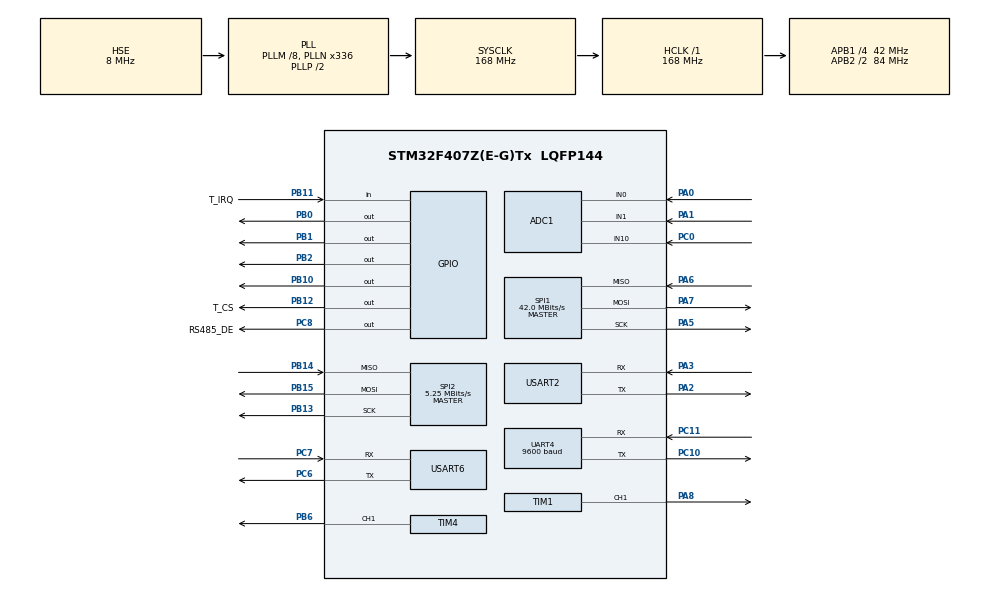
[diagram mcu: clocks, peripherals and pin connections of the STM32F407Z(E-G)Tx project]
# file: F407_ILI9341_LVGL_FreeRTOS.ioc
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ADC1.Channel-0\#ChannelRegularConversion=ADC_CHANNEL_0
ADC1.Channel-4\#ChannelRegularConversion=ADC_CHANNEL_1
ADC1.Channel-5\#ChannelRegularConversion=ADC_CHANNEL_10
ADC1.ContinuousConvMode=ENABLE
ADC1.DMAContinuousRequests=ENABLE
ADC1.DiscontinuousConvMode=DISABLE
ADC1.InjNumberOfConversion=0
ADC1.NbrOfConversion=3
ADC1.NbrOfConversionFlag=1
ADC1.Rank-0\#ChannelRegularConversion=1
ADC1.Rank-4\#ChannelRegularConversion=2
ADC1.Rank-5\#ChannelRegularConversion=3
ADC1.SamplingTime-0\#ChannelRegularConversion=ADC_SAMPLETIME_84CYCLES
ADC1.SamplingTime-4\#ChannelRegularConversion=ADC_SAMPLETIME_84CYCLES
ADC1.SamplingTime-5\#ChannelRegularConversion=ADC_SAMPLETIME_84CYCLES
ADC1.ScanConvMode=ENABLE
ADC1.master=1
Dma.ADC1.1.Direction=DMA_PERIPH_TO_MEMORY
Dma.ADC1.1.FIFOMode=DMA_FIFOMODE_DISABLE
Dma.ADC1.1.Instance=DMA2_Stream0
Dma.ADC1.1.MemDataAlignment=DMA_MDATAALIGN_HALFWORD
Dma.ADC1.1.MemInc=DMA_MINC_ENABLE
Dma.ADC1.1.Mode=DMA_CIRCULAR
Dma.ADC1.1.PeriphDataAlignment=DMA_PDATAALIGN_HALFWORD
Dma.ADC1.1.PeriphInc=DMA_PINC_DISABLE
Dma.ADC1.1.Priority=DMA_PRIORITY_LOW
Dma.Request0=SPI1_TX
Dma.Request1=ADC1
Dma.SPI1_TX.0.Direction=DMA_MEMORY_TO_PERIPH
Dma.SPI1_TX.0.FIFOMode=DMA_FIFOMODE_DISABLE
Dma.SPI1_TX.0.Instance=DMA2_Stream3
Dma.SPI1_TX.0.MemDataAlignment=DMA_MDATAALIGN_BYTE
Dma.SPI1_TX.0.MemInc=DMA_MINC_ENABLE
Dma.SPI1_TX.0.Mode=DMA_NORMAL
Dma.SPI1_TX.0.PeriphDataAlignment=DMA_PDATAALIGN_BYTE
Dma.SPI1_TX.0.PeriphInc=DMA_PINC_DISABLE
Dma.SPI1_TX.0.Priority=DMA_PRIORITY_HIGH
FREERTOS.Tasks01=defaultTask,24,2048,StartDefaultTask,Default,NULL,Dynamic,NULL,NULL
FREERTOS.configTOTAL_HEAP_SIZE=32768
Mcu.Family=STM32F4
Mcu.Name=STM32F407Z(E-G)Tx
Mcu.Package=LQFP144
NVIC.DMA2_Stream0_IRQn=true\:5\:0\:false\:false\:true\:true\:false\:true\:true
NVIC.DMA2_Stream3_IRQn=true\:5\:0\:false\:false\:true\:true\:false\:true\:true
NVIC.PriorityGroup=NVIC_PRIORITYGROUP_4
NVIC.TIM7_IRQn=true\:15\:0\:false\:false\:true\:false\:false\:true\:true
NVIC.TimeBase=TIM7_IRQn
NVIC.TimeBaseIP=TIM7
NVIC.UART4_IRQn=true\:5\:0\:false\:false\:true\:true\:true\:true\:true
NVIC.USART2_IRQn=true\:5\:0\:false\:false\:true\:true\:true\:true\:true
NVIC.USART6_IRQn=true\:5\:0\:false\:false\:true\:true\:true\:true\:true
PA0-WKUP.Signal=ADCx_IN0
PA1.Signal=ADCx_IN1
PA13.Mode=Serial_Wire
PA13.Signal=SYS_JTMS-SWDIO
PA14.Mode=Serial_Wire
PA14.Signal=SYS_JTCK-SWCLK
PA2.Mode=Asynchronous
PA2.Signal=USART2_TX
PA3.GPIO_PuPd=GPIO_PULLUP
PA3.Mode=Asynchronous
PA3.Signal=USART2_RX
PA5.Mode=Full_Duplex_Master
PA5.Signal=SPI1_SCK
PA6.Mode=Full_Duplex_Master
PA6.Signal=SPI1_MISO
PA7.Mode=Full_Duplex_Master
PA7.Signal=SPI1_MOSI
PA8.Signal=S_TIM1_CH1
PB0.GPIO_Speed=GPIO_SPEED_FREQ_HIGH
PB0.PinState=GPIO_PIN_RESET
PB0.Signal=GPIO_Output
PB1.GPIO_Speed=GPIO_SPEED_FREQ_HIGH
PB1.PinState=GPIO_PIN_SET
PB1.Signal=GPIO_Output
PB10.GPIO_Speed=GPIO_SPEED_FREQ_HIGH
PB10.PinState=GPIO_PIN_SET
PB10.Signal=GPIO_Output
PB11.GPIO_Label=T_IRQ
PB11.Signal=GPIO_Input
PB12.GPIO_Label=T_CS
PB12.PinState=GPIO_PIN_SET
PB12.Signal=GPIO_Output
PB13.Mode=Full_Duplex_Master
PB13.Signal=SPI2_SCK
PB14.Mode=Full_Duplex_Master
PB14.Signal=SPI2_MISO
PB15.Mode=Full_Duplex_Master
PB15.Signal=SPI2_MOSI
PB2.GPIO_Speed=GPIO_SPEED_FREQ_HIGH
PB2.PinState=GPIO_PIN_SET
PB2.Signal=GPIO_Output
PB6.Signal=S_TIM4_CH1
PC0.Signal=ADCx_IN10
PC10.Mode=Asynchronous
PC10.Signal=UART4_TX
PC11.Mode=Asynchronous
PC11.Signal=UART4_RX
PC6.Mode=Asynchronous
PC6.Signal=USART6_TX
PC7.Mode=Asynchronous
PC7.Signal=USART6_RX
PC8.GPIO_Label=RS485_DE
PC8.Signal=GPIO_Output
PH0-OSC_IN.Mode=HSE-External-Oscillator
PH0-OSC_IN.Signal=RCC_OSC_IN
PH1-OSC_OUT.Mode=HSE-External-Oscillator
PH1-OSC_OUT.Signal=RCC_OSC_OUT
ProjectManager.HeapSize=0x200
ProjectManager.StackSize=0x400
ProjectManager.TargetToolchain=CMake
RCC.48MHZClocksFreq_Value=84000000
RCC.AHBFreq_Value=168000000
RCC.APB1CLKDivider=RCC_HCLK_DIV4
RCC.APB1Freq_Value=42000000
RCC.APB1TimFreq_Value=84000000
RCC.APB2CLKDivider=RCC_HCLK_DIV2
RCC.APB2Freq_Value=84000000
RCC.APB2TimFreq_Value=168000000
RCC.CortexFreq_Value=168000000
RCC.HCLKFreq_Value=168000000
RCC.HSE_VALUE=8000000
RCC.HSI_VALUE=16000000
RCC.LSE_VALUE=32768
RCC.PLLM=8
RCC.PLLN=336
RCC.PLLSourceVirtual=RCC_PLLSOURCE_HSE
RCC.SYSCLKFreq_VALUE=168000000
RCC.SYSCLKSource=RCC_SYSCLKSOURCE_PLLCLK
RCC.VCOOutputFreq_Value=336000000
SH.ADCx_IN0.0=ADC1_IN0,IN0
SH.ADCx_IN1.0=ADC1_IN1,IN1
SH.ADCx_IN10.0=ADC1_IN10,IN10
SH.S_TIM1_CH1.0=TIM1_CH1,PWM Generation1 CH1
SH.S_TIM4_CH1.0=TIM4_CH1,PWM Generation1 CH1
SPI1.CalculateBaudRate=42.0 MBits/s
SPI1.Direction=SPI_DIRECTION_2LINES
SPI1.Mode=SPI_MODE_MASTER
SPI1.VirtualType=VM_MASTER
SPI2.BaudRatePrescaler=SPI_BAUDRATEPRESCALER_8
SPI2.CalculateBaudRate=5.25 MBits/s
SPI2.Direction=SPI_DIRECTION_2LINES
SPI2.Mode=SPI_MODE_MASTER
SPI2.VirtualType=VM_MASTER
TIM1.Channel-PWM\ Generation1\ CH1=TIM_CHANNEL_1
TIM1.Period=99
TIM1.Prescaler=83
TIM4.Channel-PWM\ Generation1\ CH1=TIM_CHANNEL_1
TIM4.Period=99
TIM4.Prescaler=83
UART4.BaudRate=9600
UART4.VirtualMode=Asynchronous
USART2.VirtualMode=VM_ASYNC
USART6.VirtualMode=VM_ASYNC
VP_FREERTOS_VS_CMSIS_V2.Mode=CMSIS_V2
VP_SYS_VS_tim7.Mode=TIM7
board=custom

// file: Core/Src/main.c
/* USER CODE BEGIN Header */
/**
  ******************************************************************************
  * @file           : main.c
  * @brief          : Main program body
  ******************************************************************************
  * @attention
  *
  * Copyright (c) 2026 STMicroelectronics.
  * All rights reserved.
  *
  * This software is licensed under terms that can be found in the LICENSE file
  * in the root directory of this software component.
  * If no LICENSE file comes with this software, it is provided AS-IS.
  *
  ******************************************************************************
  */
/* USER CODE END Header */
#include "main.h"
#include "cmsis_os.h"

/* USER CODE BEGIN Includes */
#include "lvgl.h"
#include "ili9341.h"
#include "lv_port_disp.h"
#include "ui.h"
#include "lv_port_indev.h"
#include "app_env.h"      /* 任务间共享数据 */
#include "app_tasks.h"    /* 四个任务 */
/* USER CODE END Includes */

ADC_HandleTypeDef hadc1;
DMA_HandleTypeDef hdma_adc1;

SPI_HandleTypeDef hspi1;
SPI_HandleTypeDef hspi2;
DMA_HandleTypeDef hdma_spi1_tx;

TIM_HandleTypeDef htim1;
TIM_HandleTypeDef htim4;

UART_HandleTypeDef huart4;
UART_HandleTypeDef huart2;
UART_HandleTypeDef huart6;

/* Definitions for defaultTask */
osThreadId_t defaultTaskHandle;
const osThreadAttr_t defaultTask_attributes = {
  .name = "defaultTask",
  .stack_size = 2048 * 4,
  .priority = (osPriority_t) osPriorityNormal,
};

void SystemClock_Config(void);
static void MX_GPIO_Init(void);
static void MX_DMA_Init(void);
static void MX_SPI1_Init(void);
static void MX_SPI2_Init(void);
static void MX_ADC1_Init(void);
static void MX_UART4_Init(void);
static void MX_USART2_UART_Init(void);
static void MX_TIM1_Init(void);
static void MX_TIM4_Init(void);
static void MX_USART6_UART_Init(void);
void StartDefaultTask(void *argument);

int main(void)
{

  /* MCU Configuration--------------------------------------------------------*/

  /* Reset of all peripherals, Initializes the Flash interface and the Systick. */
  HAL_Init();

  /* Configure the system clock */
  SystemClock_Config();

  /* Initialize all configured peripherals */
  MX_GPIO_Init();
  MX_DMA_Init();
  MX_SPI1_Init();
  MX_SPI2_Init();
  MX_ADC1_Init();
  MX_UART4_Init();
  MX_USART2_UART_Init();
  MX_TIM1_Init();
  MX_TIM4_Init();
  MX_USART6_UART_Init();
  /* USER CODE BEGIN 2 */

  /* 屏幕 + LVGL 初始化 */
  ILI9341_Init();
  lv_init();
  lv_port_disp_init();
  lv_port_indev_init();   /* ← 新增：注册触摸屏 */

  /* LVGL 界面*/
  HAL_Delay(500);
  ui_init();

  /* DMA2 Stream0 是 ADC1 的循环搬运通道。CubeMX 默认给它开了 NVIC 中断，
     但循环模式下"传输完成"每约 14µs 就来一次（约 7 万次/秒），而
     Task_Sensor 是 100ms 主动取一次值，根本不需要中断通知。
     CubeMX 在 GUI 里把这一行的使能勾锁死了（DMA Settings 页和全局 NVIC
     表里都改不了），所以在这里反向关掉。
     DMA 本身是纯硬件在搬数据，关掉中断不影响它工作。
     放在 USER CODE 区，重新生成不会丢。 */
  HAL_NVIC_DisableIRQ(DMA2_Stream0_IRQn);

  /* USER CODE END 2 */

  /* Init scheduler */
  osKernelInitialize();

  /* USER CODE BEGIN RTOS_MUTEX */
  /* 建立保护共享数据的互斥锁，并把阈值恢复成默认值。
     必须放在 osKernelInitialize() 之后（建锁的前提），
     又必须在 osKernelStart() 之前（任务一跑起来就要用）。 */
  env_init();
  /* USER CODE END RTOS_MUTEX */

  /* Create the thread(s) */
  /* creation of defaultTask */
  defaultTaskHandle = osThreadNew(StartDefaultTask, NULL, &defaultTask_attributes);

  /* USER CODE BEGIN RTOS_THREADS */
  /* 创建 Sensor / Voc / Host 三个任务。
     LVGL 任务由 CubeMX 的 defaultTask 承担，不在这里重复创建。 */
  app_tasks_create();
  /* USER CODE END RTOS_THREADS */

  /* Start scheduler */
  osKernelStart();

  /* We should never get here as control is now taken by the scheduler */

  /* Infinite loop */
  while (1)
  {

  }
}

void SystemClock_Config(void)
{
  RCC_OscInitTypeDef RCC_OscInitStruct = {0};
  RCC_ClkInitTypeDef RCC_ClkInitStruct = {0};

  /** Configure the main internal regulator output voltage
  */
  __HAL_RCC_PWR_CLK_ENABLE();
  __HAL_PWR_VOLTAGESCALING_CONFIG(PWR_REGULATOR_VOLTAGE_SCALE1);

  /** Initializes the RCC Oscillators according to the specified parameters
  * in the RCC_OscInitTypeDef structure.
  */
  RCC_OscInitStruct.OscillatorType = RCC_OSCILLATORTYPE_HSE;
  RCC_OscInitStruct.HSEState = RCC_HSE_ON;
  RCC_OscInitStruct.PLL.PLLState = RCC_PLL_ON;
  RCC_OscInitStruct.PLL.PLLSource = RCC_PLLSOURCE_HSE;
  RCC_OscInitStruct.PLL.PLLM = 8;
  RCC_OscInitStruct.PLL.PLLN = 336;
  RCC_OscInitStruct.PLL.PLLP = RCC_PLLP_DIV2;
  RCC_OscInitStruct.PLL.PLLQ = 4;
  if (HAL_RCC_OscConfig(&RCC_OscInitStruct) != HAL_OK)
  {
    Error_Handler();
  }

  /** Initializes the CPU, AHB and APB buses clocks
  */
  RCC_ClkInitStruct.ClockType = RCC_CLOCKTYPE_HCLK|RCC_CLOCKTYPE_SYSCLK
                              |RCC_CLOCKTYPE_PCLK1|RCC_CLOCKTYPE_PCLK2;
  RCC_ClkInitStruct.SYSCLKSource = RCC_SYSCLKSOURCE_PLLCLK;
  RCC_ClkInitStruct.AHBCLKDivider = RCC_SYSCLK_DIV1;
  RCC_ClkInitStruct.APB1CLKDivider = RCC_HCLK_DIV4;
  RCC_ClkInitStruct.APB2CLKDivider = RCC_HCLK_DIV2;

  if (HAL_RCC_ClockConfig(&RCC_ClkInitStruct, FLASH_LATENCY_5) != HAL_OK)
  {
    Error_Handler();
  }
}

static void MX_ADC1_Init(void)
{

  ADC_ChannelConfTypeDef sConfig = {0};

  /** Configure the global features of the ADC (Clock, Resolution, Data Alignment and number of conversion)
  */
  hadc1.Instance = ADC1;
  hadc1.Init.ClockPrescaler = ADC_CLOCK_SYNC_PCLK_DIV4;
  hadc1.Init.Resolution = ADC_RESOLUTION_12B;
  hadc1.Init.ScanConvMode = ENABLE;
  hadc1.Init.ContinuousConvMode = ENABLE;
  hadc1.Init.DiscontinuousConvMode = DISABLE;
  hadc1.Init.ExternalTrigConvEdge = ADC_EXTERNALTRIGCONVEDGE_NONE;
  hadc1.Init.ExternalTrigConv = ADC_SOFTWARE_START;
  hadc1.Init.DataAlign = ADC_DATAALIGN_RIGHT;
  hadc1.Init.NbrOfConversion = 3;
  hadc1.Init.DMAContinuousRequests = ENABLE;
  hadc1.Init.EOCSelection = ADC_EOC_SINGLE_CONV;
  if (HAL_ADC_Init(&hadc1) != HAL_OK)
  {
    Error_Handler();
  }

  /** Configure for the selected ADC regular channel its corresponding rank in the sequencer and its sample time.
  */
  sConfig.Channel = ADC_CHANNEL_0;
  sConfig.Rank = 1;
  sConfig.SamplingTime = ADC_SAMPLETIME_84CYCLES;
  if (HAL_ADC_ConfigChannel(&hadc1, &sConfig) != HAL_OK)
  {
    Error_Handler();
  }

  /** Configure for the selected ADC regular channel its corresponding rank in the sequencer and its sample time.
  */
  sConfig.Channel = ADC_CHANNEL_1;
  sConfig.Rank = 2;
  if (HAL_ADC_ConfigChannel(&hadc1, &sConfig) != HAL_OK)
  {
    Error_Handler();
  }

  /** Configure for the selected ADC regular channel its corresponding rank in the sequencer and its sample time.
  */
  sConfig.Channel = ADC_CHANNEL_10;
  sConfig.Rank = 3;
  if (HAL_ADC_ConfigChannel(&hadc1, &sConfig) != HAL_OK)
  {
    Error_Handler();
  }

}

static void MX_SPI1_Init(void)
{

  /* SPI1 parameter configuration*/
  hspi1.Instance = SPI1;
  hspi1.Init.Mode = SPI_MODE_MASTER;
  hspi1.Init.Direction = SPI_DIRECTION_2LINES;
  hspi1.Init.DataSize = SPI_DATASIZE_8BIT;
  hspi1.Init.CLKPolarity = SPI_POLARITY_LOW;
  hspi1.Init.CLKPhase = SPI_PHASE_1EDGE;
  hspi1.Init.NSS = SPI_NSS_SOFT;
  hspi1.Init.BaudRatePrescaler = SPI_BAUDRATEPRESCALER_2;
  hspi1.Init.FirstBit = SPI_FIRSTBIT_MSB;
  hspi1.Init.TIMode = SPI_TIMODE_DISABLE;
  hspi1.Init.CRCCalculation = SPI_CRCCALCULATION_DISABLE;
  hspi1.Init.CRCPolynomial = 10;
  if (HAL_SPI_Init(&hspi1) != HAL_OK)
  {
    Error_Handler();
  }

}

static void MX_SPI2_Init(void)
{

  /* SPI2 parameter configuration*/
  hspi2.Instance = SPI2;
  hspi2.Init.Mode = SPI_MODE_MASTER;
  hspi2.Init.Direction = SPI_DIRECTION_2LINES;
  hspi2.Init.DataSize = SPI_DATASIZE_8BIT;
  hspi2.Init.CLKPolarity = SPI_POLARITY_LOW;
  hspi2.Init.CLKPhase = SPI_PHASE_1EDGE;
  hspi2.Init.NSS = SPI_NSS_SOFT;
  hspi2.Init.BaudRatePrescaler = SPI_BAUDRATEPRESCALER_8;
  hspi2.Init.FirstBit = SPI_FIRSTBIT_MSB;
  hspi2.Init.TIMode = SPI_TIMODE_DISABLE;
  hspi2.Init.CRCCalculation = SPI_CRCCALCULATION_DISABLE;
  hspi2.Init.CRCPolynomial = 10;
  if (HAL_SPI_Init(&hspi2) != HAL_OK)
  {
    Error_Handler();
  }

}

static void MX_TIM1_Init(void)
{

  TIM_MasterConfigTypeDef sMasterConfig = {0};
  TIM_OC_InitTypeDef sConfigOC = {0};
  TIM_BreakDeadTimeConfigTypeDef sBreakDeadTimeConfig = {0};

  htim1.Instance = TIM1;
  htim1.Init.Prescaler = 83;
  htim1.Init.CounterMode = TIM_COUNTERMODE_UP;
  htim1.Init.Period = 99;
  htim1.Init.ClockDivision = TIM_CLOCKDIVISION_DIV1;
  htim1.Init.RepetitionCounter = 0;
  htim1.Init.AutoReloadPreload = TIM_AUTORELOAD_PRELOAD_DISABLE;
  if (HAL_TIM_PWM_Init(&htim1) != HAL_OK)
  {
    Error_Handler();
  }
  sMasterConfig.MasterOutputTrigger = TIM_TRGO_RESET;
  sMasterConfig.MasterSlaveMode = TIM_MASTERSLAVEMODE_DISABLE;
  if (HAL_TIMEx_MasterConfigSynchronization(&htim1, &sMasterConfig) != HAL_OK)
  {
    Error_Handler();
  }
  sConfigOC.OCMode = TIM_OCMODE_PWM1;
  sConfigOC.Pulse = 0;
  sConfigOC.OCPolarity = TIM_OCPOLARITY_HIGH;
  sConfigOC.OCNPolarity = TIM_OCNPOLARITY_HIGH;
  sConfigOC.OCFastMode = TIM_OCFAST_DISABLE;
  sConfigOC.OCIdleState = TIM_OCIDLESTATE_RESET;
  sConfigOC.OCNIdleState = TIM_OCNIDLESTATE_RESET;
  if (HAL_TIM_PWM_ConfigChannel(&htim1, &sConfigOC, TIM_CHANNEL_1) != HAL_OK)
  {
    Error_Handler();
  }
  sBreakDeadTimeConfig.OffStateRunMode = TIM_OSSR_DISABLE;
  sBreakDeadTimeConfig.OffStateIDLEMode = TIM_OSSI_DISABLE;
  sBreakDeadTimeConfig.LockLevel = TIM_LOCKLEVEL_OFF;
  sBreakDeadTimeConfig.DeadTime = 0;
  sBreakDeadTimeConfig.BreakState = TIM_BREAK_DISABLE;
  sBreakDeadTimeConfig.BreakPolarity = TIM_BREAKPOLARITY_HIGH;
  sBreakDeadTimeConfig.AutomaticOutput = TIM_AUTOMATICOUTPUT_DISABLE;
  if (HAL_TIMEx_ConfigBreakDeadTime(&htim1, &sBreakDeadTimeConfig) != HAL_OK)
  {
    Error_Handler();
  }
  HAL_TIM_MspPostInit(&htim1);

}

static void MX_TIM4_Init(void)
{

  TIM_MasterConfigTypeDef sMasterConfig = {0};
  TIM_OC_InitTypeDef sConfigOC = {0};

  htim4.Instance = TIM4;
  htim4.Init.Prescaler = 83;
  htim4.Init.CounterMode = TIM_COUNTERMODE_UP;
  htim4.Init.Period = 99;
  htim4.Init.ClockDivision = TIM_CLOCKDIVISION_DIV1;
  htim4.Init.AutoReloadPreload = TIM_AUTORELOAD_PRELOAD_DISABLE;
  if (HAL_TIM_PWM_Init(&htim4) != HAL_OK)
  {
    Error_Handler();
  }
  sMasterConfig.MasterOutputTrigger = TIM_TRGO_RESET;
  sMasterConfig.MasterSlaveMode = TIM_MASTERSLAVEMODE_DISABLE;
  if (HAL_TIMEx_MasterConfigSynchronization(&htim4, &sMasterConfig) != HAL_OK)
  {
    Error_Handler();
  }
  sConfigOC.OCMode = TIM_OCMODE_PWM1;
  sConfigOC.Pulse = 0;
  sConfigOC.OCPolarity = TIM_OCPOLARITY_HIGH;
  sConfigOC.OCFastMode = TIM_OCFAST_DISABLE;
  if (HAL_TIM_PWM_ConfigChannel(&htim4, &sConfigOC, TIM_CHANNEL_1) != HAL_OK)
  {
    Error_Handler();
  }
  HAL_TIM_MspPostInit(&htim4);

}

static void MX_UART4_Init(void)
{

  huart4.Instance = UART4;
  huart4.Init.BaudRate = 9600;
  huart4.Init.WordLength = UART_WORDLENGTH_8B;
  huart4.Init.StopBits = UART_STOPBITS_1;
  huart4.Init.Parity = UART_PARITY_NONE;
  huart4.Init.Mode = UART_MODE_TX_RX;
  huart4.Init.HwFlowCtl = UART_HWCONTROL_NONE;
  huart4.Init.OverSampling = UART_OVERSAMPLING_16;
  if (HAL_UART_Init(&huart4) != HAL_OK)
  {
    Error_Handler();
  }

}

static void MX_USART2_UART_Init(void)
{

  huart2.Instance = USART2;
  huart2.Init.BaudRate = 115200;
  huart2.Init.WordLength = UART_WORDLENGTH_8B;
  huart2.Init.StopBits = UART_STOPBITS_1;
  huart2.Init.Parity = UART_PARITY_NONE;
  huart2.Init.Mode = UART_MODE_TX_RX;
  huart2.Init.HwFlowCtl = UART_HWCONTROL_NONE;
  huart2.Init.OverSampling = UART_OVERSAMPLING_16;
  if (HAL_UART_Init(&huart2) != HAL_OK)
  {
    Error_Handler();
  }

}

static void MX_USART6_UART_Init(void)
{

  huart6.Instance = USART6;
  huart6.Init.BaudRate = 115200;
  huart6.Init.WordLength = UART_WORDLENGTH_8B;
  huart6.Init.StopBits = UART_STOPBITS_1;
  huart6.Init.Parity = UART_PARITY_NONE;
  huart6.Init.Mode = UART_MODE_TX_RX;
  huart6.Init.HwFlowCtl = UART_HWCONTROL_NONE;
  huart6.Init.OverSampling = UART_OVERSAMPLING_16;
  if (HAL_UART_Init(&huart6) != HAL_OK)
  {
    Error_Handler();
  }

}

static void MX_DMA_Init(void)
{

  /* DMA controller clock enable */
  __HAL_RCC_DMA2_CLK_ENABLE();

  /* DMA interrupt init */
  /* DMA2_Stream0_IRQn interrupt configuration */
  HAL_NVIC_SetPriority(DMA2_Stream0_IRQn, 5, 0);
  HAL_NVIC_EnableIRQ(DMA2_Stream0_IRQn);
  /* DMA2_Stream3_IRQn interrupt configuration */
  HAL_NVIC_SetPriority(DMA2_Stream3_IRQn, 5, 0);
  HAL_NVIC_EnableIRQ(DMA2_Stream3_IRQn);

}

static void MX_GPIO_Init(void)
{
  GPIO_InitTypeDef GPIO_InitStruct = {0};

  /* GPIO Ports Clock Enable */
  __HAL_RCC_GPIOH_CLK_ENABLE();
  __HAL_RCC_GPIOC_CLK_ENABLE();
  __HAL_RCC_GPIOA_CLK_ENABLE();
  __HAL_RCC_GPIOB_CLK_ENABLE();

  /*Configure GPIO pin Output Level */
  HAL_GPIO_WritePin(GPIOB, GPIO_PIN_0, GPIO_PIN_RESET);

  /*Configure GPIO pin Output Level */
  HAL_GPIO_WritePin(GPIOB, GPIO_PIN_1|GPIO_PIN_2|GPIO_PIN_10|T_CS_Pin, GPIO_PIN_SET);

  /*Configure GPIO pin Output Level */
  HAL_GPIO_WritePin(RS485_DE_GPIO_Port, RS485_DE_Pin, GPIO_PIN_RESET);

  /*Configure GPIO pins : PB0 PB1 PB2 PB10 */
  GPIO_InitStruct.Pin = GPIO_PIN_0|GPIO_PIN_1|GPIO_PIN_2|GPIO_PIN_10;
  GPIO_InitStruct.Mode = GPIO_MODE_OUTPUT_PP;
  GPIO_InitStruct.Pull = GPIO_NOPULL;
  GPIO_InitStruct.Speed = GPIO_SPEED_FREQ_HIGH;
  HAL_GPIO_Init(GPIOB, &GPIO_InitStruct);

  /*Configure GPIO pin : T_IRQ_Pin */
  GPIO_InitStruct.Pin = T_IRQ_Pin;
  GPIO_InitStruct.Mode = GPIO_MODE_INPUT;
  GPIO_InitStruct.Pull = GPIO_NOPULL;
  HAL_GPIO_Init(T_IRQ_GPIO_Port, &GPIO_InitStruct);

  /*Configure GPIO pin : T_CS_Pin */
  GPIO_InitStruct.Pin = T_CS_Pin;
  GPIO_InitStruct.Mode = GPIO_MODE_OUTPUT_PP;
  GPIO_InitStruct.Pull = GPIO_NOPULL;
  GPIO_InitStruct.Speed = GPIO_SPEED_FREQ_LOW;
  HAL_GPIO_Init(T_CS_GPIO_Port, &GPIO_InitStruct);

  /*Configure GPIO pin : RS485_DE_Pin */
  GPIO_InitStruct.Pin = RS485_DE_Pin;
  GPIO_InitStruct.Mode = GPIO_MODE_OUTPUT_PP;
  GPIO_InitStruct.Pull = GPIO_NOPULL;
  GPIO_InitStruct.Speed = GPIO_SPEED_FREQ_LOW;
  HAL_GPIO_Init(RS485_DE_GPIO_Port, &GPIO_InitStruct);

}

void StartDefaultTask(void *argument)
{
  /* USER CODE BEGIN 5 */
  /* LVGL 引擎循环搬到了 App/app_tasks.c 的 Task_Lvgl()，
     这样业务逻辑不落在 CubeMX 生成的文件里。 */
  Task_Lvgl(argument);
  /* USER CODE END 5 */
}

void HAL_TIM_PeriodElapsedCallback(TIM_HandleTypeDef *htim)
{
  if (htim->Instance == TIM7)
  {
    HAL_IncTick();
  }
  /* USER CODE BEGIN Callback 1 */
  if (htim->Instance == TIM7)
  {
    lv_tick_inc(1);   /* TIM7 1ms 中断同时喂 LVGL 心跳 */
  }
  /* USER CODE END Callback 1 */
}

void Error_Handler(void)
{
  __disable_irq();
  while (1)
  {
  }
}
